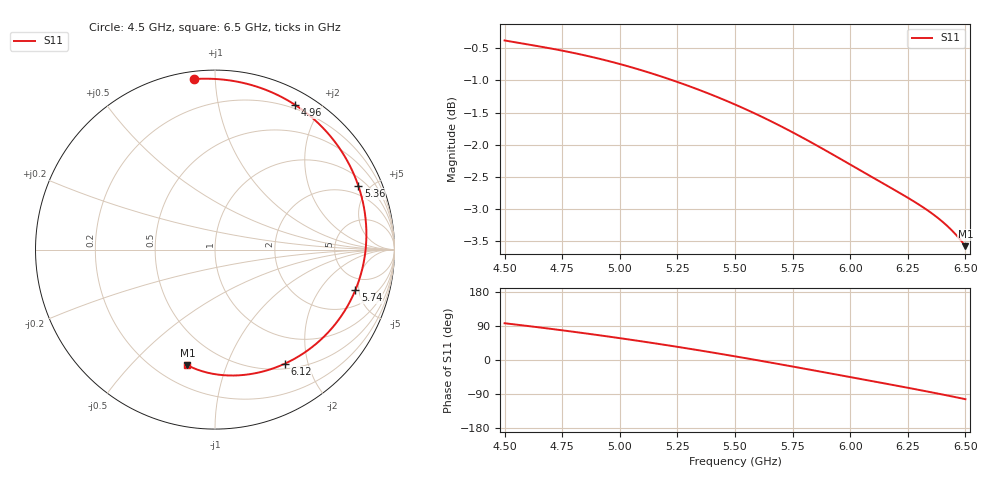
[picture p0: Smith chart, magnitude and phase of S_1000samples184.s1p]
! TOUCHSTONE file generated by CST MICROWAVE STUDIO
! Date and time: Thu Oct 27 07:14:10 2022
! Project name: L.cst
! Parameters = {Di=1.27; Epsilon_r=1.56; InnerDiameter=1.27; Length=2; Lf=10; Lg=60; OuterConductorThickness=0.2921; OuterDiameter=3.6; Wf=3; Wp=41.2; de=1.5; df=6.8; g=0.8; gx=4.45397; gy=4.64916; h=2.34; hf=1.524; px=12.6285; py=13.8715; w=9.7; wx=8.1745; wy=9.22231}
! Header version: 2018
! Port assignment regex: !\s*Touchstone port\s*([0-9]+)\s*=\s*(CST MWS port|CST DS port)\s*([0-9]+|Zmin|Zmax)\s*\(\"(.*)\"\)(\s*mode\s*([0-9]+))?.*
! Touchstone port assignment:
! Touchstone port 1 = CST MWS port 1 ("")
# GHz S DB R 50
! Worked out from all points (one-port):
!   101 points, 4.5 GHz to 6.5 GHz, reference 50 ohm
!   lowest |S11| = -3.6 dB at 6.5 GHz (marker M1), VSWR 4.92, Z = 16.1 - j36.9 ohm
!   |S11| at or under -10 dB: nowhere
!   S11 on the Smith chart (normalised r, x): 4.5 GHz: 0.04, +0.88; 4.96 GHz: 0.16, +1.68; 5.36 GHz: 1.42, +4.27; 5.74 GHz: 3.41, -4.58; 6.12 GHz: 0.57, -1.64; 6.5 GHz: 0.32, -0.74
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4.5  -0.38 97.0
4.64  -0.47 86.8
4.76  -0.55 77.6
4.86  -0.62 69.5
4.96  -0.71 61.1
5  -0.75 57.6
5.12  -0.87 46.9
5.2  -0.96 39.5
5.26  -1.04 33.8
5.36  -1.17 23.9
5.44  -1.28 15.8
5.5  -1.38 9.6
5.56  -1.47 3.3
5.62  -1.57 -3.1
5.68  -1.68 -9.6
5.74  -1.79 -16.2
5.76  -1.83 -18.4
5.82  -1.94 -25.0
5.88  -2.06 -31.7
6  -2.31 -45.1
6.06  -2.43 -51.8
6.12  -2.56 -58.5
6.2  -2.72 -67.6
6.26  -2.85 -74.5
6.32  -2.98 -81.4
6.38  -3.14 -88.6
6.44  -3.33 -95.9
6.5  -3.58 -103.4
